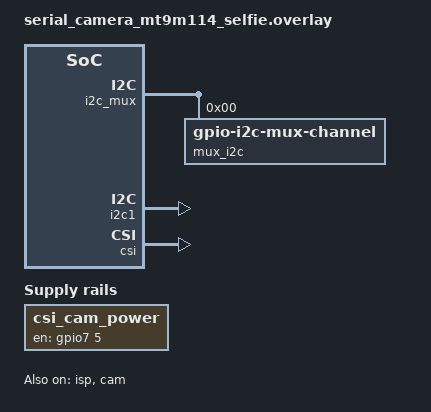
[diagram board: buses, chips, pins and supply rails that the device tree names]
/* Copyright (C) 2026 Alif Semiconductor - All Rights Reserved.
 * Use, distribution and modification of this code are permitted under the
 * terms stated in the Alif Semiconductor Software License Agreement.
 *
 * You should have received a copy of the Alif Semiconductor Software
 * License Agreement with this file. If not, please write to:
 * contact@alifsemi.com, or visit: https://alifsemi.com/license
 */

#include <dt-bindings/pinctrl/ensemble-pinctrl.h>
#include <dt-bindings/i2c/i2c.h>
#include <dt-bindings/gpio/gpio.h>
#include <dt-bindings/video/video-interfaces.h>

&i2c1 {
	status = "okay";
};

&gpio7 {
	status = "okay";
};

&gpio14 {
	status = "okay";
};

/ {
	csi_cam_power: regulator-v1.2-v1.8v {
		compatible = "regulator-fixed";

		regulator-name = "MIPI supply";

		enable-gpios = < &gpio7 5 GPIO_ACTIVE_HIGH >;

		regulator-boot-on;
		regulator-always-on;
		status = "okay";
	};

	i2c_mux: i2c-mux {
		compatible = "gpio-i2c-mux";
		status = "okay";
		#address-cells = <1>;
		#size-cells = <0>;

		i2c-inst = <&i2c1>;

		ctrl-gpios = <&gpio14 3 GPIO_ACTIVE_HIGH>;

		mux_i2c@0 {
			compatible = "gpio-i2c-mux-channel";
			reg = <0>;

			#address-cells = <1>;
			#size-cells = <0>;

			mt9m114_selfie: mt9m114_selfie@5d {
				compatible = "aptina,mt9m114";
				reg = <0x5d>;

				reset-gpios = <&gpio14 4 GPIO_ACTIVE_LOW>;

				status = "okay";

				port {
					mt9m114_csi2_ep_out0: endpoint {
						bus-type = <VIDEO_BUS_TYPE_CSI2_DPHY>;
						link-frequencies = < 384000000 >;
						data-lanes = <1>;
						clock-lane = <0>;

						remote-endpoint-label = "csi2_ep_in0";
					};
				};
			};
		};
	};
};

&isp {
	status = "okay";

	port {
		isp_ep_in: endpoint {
			remote-endpoint-label = "cam_isp_ep_out";
		};
	};
};

&cam {
	status = "okay";

	pinctrl-0 = <&pinctrl_cam_xvclk>;
	pinctrl-names = "default";

	ports {
		#address-cells = <1>;
		#size-cells = <0>;

		/* MIPI CSI-2 bus endpoint. */
		port@0 {
			reg = <0>;
			cam_csi2_ep_in: endpoint {
				remote-endpoint-label = "csi2_ep_out";
			};
		};

		/* ISP Interface. */
		port@2 {
			reg = <2>;
			cam_isp_ep_out: endpoint {
				remote-endpoint-label = "isp_ep_in";
			};
		};
	};
};

&csi {
	status = "okay";

	/* Selfie camera D-PHY*/
	phy-if = <&dphy 0>;
	ports {
		#address-cells = <1>;
		#size-cells = <0>;
		port@0 {
			reg = <0>;
			csi2_ep_in0: endpoint {
				bus-type = <VIDEO_BUS_TYPE_CSI2_DPHY>;
				link-frequencies = < 384000000 >;
				data-lanes = <1>;
				clock-lane = <0>;

				remote-endpoint-label = "mt9m114_csi2_ep_out0";
			};
		};
		port@2 {
			reg = <2>;
			csi2_ep_out: endpoint {
				remote-endpoint-label = "cam_csi2_ep_in";
				bus-type = <VIDEO_BUS_TYPE_PARALLEL>;
			};
		};
	};
};
